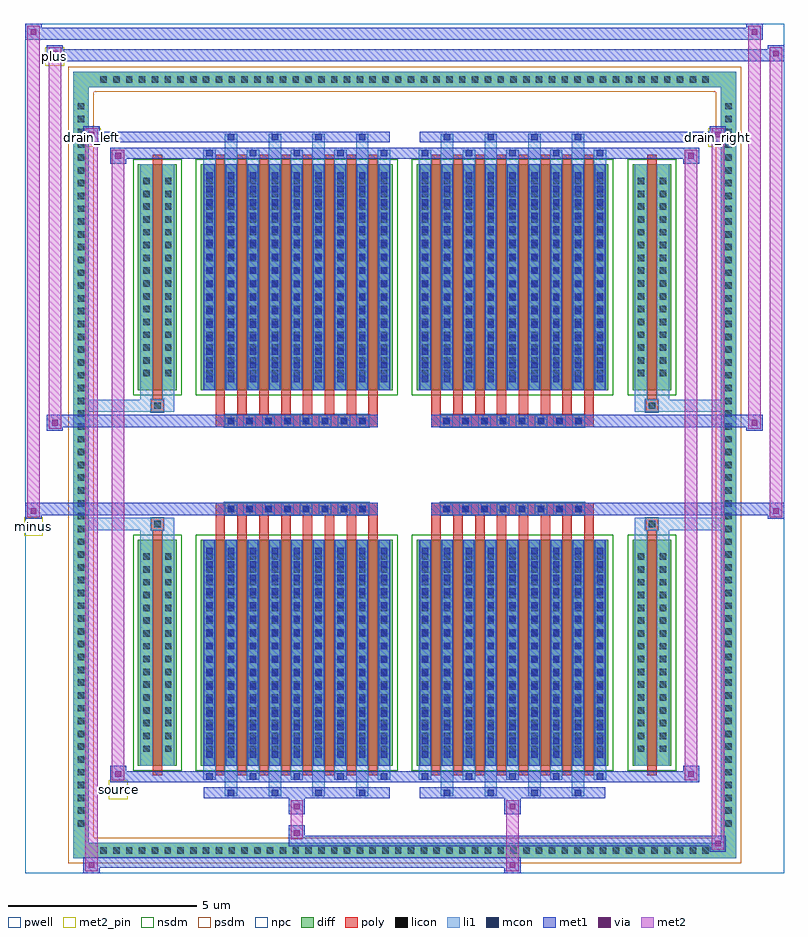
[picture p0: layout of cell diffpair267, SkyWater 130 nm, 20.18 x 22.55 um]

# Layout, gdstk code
import gdstk
lib = gdstk.Library(unit=1e-6, precision=5e-09)
def R(c, l, rs):  # rectangles x0, y0, x1, y1
    for r in rs: c.add(gdstk.rectangle(r[:2], r[2:], *l))
def A(c, l, x, y, w, h, nx, ny, dx, dy):  # array of equal rectangles
    R(c, l, [(x+i*dx, y+j*dy, x+i*dx+w, y+j*dy+h) for i in range(nx) for j in range(ny)])
def P(c, l, *ps):  # polygons
    for p in ps: c.add(gdstk.Polygon(p, *l))
pwell = (64, 44)
diff = (65, 20)
poly = (66, 20)
licon = (66, 44)
li1 = (67, 20)
mcon = (67, 44)
met1 = (68, 20)
via = (68, 44)
met2_pin = (69, 16)
met2 = (69, 20)
nsdm = (93, 44)
psdm = (94, 20)
npc = (95, 20)

diffpair267 = lib.new_cell('diffpair267')
R(diffpair267, pwell, [(-10.07,-10.84,10.07,11.71), (-7.39,-9.03,-0.01,-0.805), (0.01,-9.03,7.39,-0.805), (-7.39,0.805,-0.01,9.03), (0.01,0.805,7.39,9.03)])
A(diffpair267, diff, -8.195, -10.44, 0.41, 0.41, 48, 2, 0.34, 20.47)
A(diffpair267, diff, -8.8, -9.725, 0.41, 0.41, 1, 57, 0, 0.34)
A(diffpair267, diff, 8.39, -9.725, 0.41, 0.41, 1, 57, 0, 0.34)
R(diffpair267, diff, [(-8.195,-10.44,8.195,-10.03), (-8.8,-9.725,-8.39,9.725), (8.39,-9.725,8.8,9.725), (-7.08,-7.985,-6.05,-1.985), (-5.41,-7.985,-0.32,-1.985), (0.32,-7.985,5.41,-1.985), (6.05,-7.985,7.08,-1.985), (-7.08,1.985,-6.05,7.985), (-5.41,1.985,-0.32,7.985), (0.32,1.985,5.41,7.985), (6.05,1.985,7.08,7.985), (-8.195,10.03,8.195,10.44)])
P(diffpair267, diff, [(8.8,10.44),(-8.8,10.44),(-8.8,-10.03),(-8.39,-10.03),(-8.39,10.03),(8.39,10.03),(8.39,-10.03),(-8.39,-10.03),(-8.8,-10.03),(-8.8,-10.44),(8.8,-10.44)])
A(diffpair267, poly, -5.02, -8.235, 0.25, 6.5, 8, 2, 0.58, 9.97)
A(diffpair267, poly, 0.71, -8.235, 0.25, 6.5, 8, 2, 0.58, 9.97)
A(diffpair267, poly, -5.02, -1.735, 0.25, 0.4, 8, 2, 0.58, 3.07)
A(diffpair267, poly, 0.71, -1.735, 0.25, 0.4, 8, 2, 0.58, 3.07)
A(diffpair267, poly, -4.78, -1.335, 0.33, 0.33, 8, 2, 0.5, 2.34)
A(diffpair267, poly, 0.95, -1.335, 0.33, 0.33, 8, 2, 0.5, 2.34)
R(diffpair267, poly, [(-6.69,-8.235,-6.44,-1.735), (6.44,-8.235,6.69,-1.735), (-6.73,-1.735,-6.4,-1.405), (-6.73,-1.735,-6.4,-1.405), (6.4,-1.735,6.73,-1.405), (6.4,-1.735,6.73,-1.405), (-5.02,-1.335,-0.71,-1.005), (0.71,-1.335,5.02,-1.005), (-5.02,1.005,-0.71,1.335), (0.71,1.005,5.02,1.335), (-6.73,1.405,-6.4,1.735), (-6.73,1.405,-6.4,1.735), (6.4,1.405,6.73,1.735), (6.4,1.405,6.73,1.735), (-6.69,1.735,-6.44,8.235), (6.44,1.735,6.69,8.235)])
A(diffpair267, licon, -8.075, -10.32, 0.17, 0.17, 48, 2, 0.34, 20.47)
A(diffpair267, licon, -8.68, -9.605, 0.17, 0.17, 1, 57, 0, 0.34)
A(diffpair267, licon, 8.51, -9.605, 0.17, 0.17, 1, 57, 0, 0.34)
A(diffpair267, licon, -6.94, -7.62, 0.17, 0.17, 1, 16, 0, 0.34)
A(diffpair267, licon, -6.36, -7.62, 0.17, 0.17, 1, 16, 0, 0.34)
A(diffpair267, licon, -5.27, -7.62, 0.17, 0.17, 9, 16, 0.58, 0.34)
A(diffpair267, licon, 0.46, -7.62, 0.17, 0.17, 9, 16, 0.58, 0.34)
A(diffpair267, licon, 6.19, -7.62, 0.17, 0.17, 1, 16, 0, 0.34)
A(diffpair267, licon, 6.77, -7.62, 0.17, 0.17, 1, 16, 0, 0.34)
A(diffpair267, licon, -4.7, -1.255, 0.17, 0.17, 8, 2, 0.5, 2.34)
A(diffpair267, licon, 1.03, -1.255, 0.17, 0.17, 8, 2, 0.5, 2.34)
A(diffpair267, licon, -6.94, 2.35, 0.17, 0.17, 1, 16, 0, 0.34)
A(diffpair267, licon, -6.36, 2.35, 0.17, 0.17, 1, 16, 0, 0.34)
A(diffpair267, licon, -5.27, 2.35, 0.17, 0.17, 9, 16, 0.58, 0.34)
A(diffpair267, licon, 0.46, 2.35, 0.17, 0.17, 9, 16, 0.58, 0.34)
A(diffpair267, licon, 6.19, 2.35, 0.17, 0.17, 1, 16, 0, 0.34)
A(diffpair267, licon, 6.77, 2.35, 0.17, 0.17, 1, 16, 0, 0.34)
R(diffpair267, licon, [(-6.65,-1.655,-6.48,-1.485), (6.48,-1.655,6.65,-1.485), (-6.65,1.485,-6.48,1.655), (6.48,1.485,6.65,1.655)])
A(diffpair267, li1, -8.155, -10.4, 0.33, 0.33, 48, 2, 0.34, 20.47)
A(diffpair267, li1, -8.76, -9.685, 0.33, 0.33, 1, 57, 0, 0.34)
A(diffpair267, li1, 8.43, -9.685, 0.33, 0.33, 1, 57, 0, 0.34)
A(diffpair267, li1, -4.77, -8.79, 0.33, 0.805, 4, 2, 1.16, 16.775)
A(diffpair267, li1, -4.69, -8.79, 0.17, 0.17, 4, 2, 1.16, 17.41)
A(diffpair267, li1, 0.96, -8.79, 0.33, 0.805, 4, 2, 1.16, 16.775)
A(diffpair267, li1, 1.04, -8.79, 0.17, 0.17, 4, 2, 1.16, 17.41)
A(diffpair267, li1, -5.35, -8.36, 0.33, 0.375, 5, 2, 1.16, 16.345)
A(diffpair267, li1, -5.27, -8.36, 0.17, 0.17, 5, 2, 1.16, 16.55)
A(diffpair267, li1, 0.38, -8.36, 0.33, 0.375, 5, 2, 1.16, 16.345)
A(diffpair267, li1, 0.46, -8.36, 0.17, 0.17, 5, 2, 1.16, 16.55)
A(diffpair267, li1, -5.35, -7.985, 0.33, 6, 9, 2, 0.58, 9.97)
A(diffpair267, li1, 0.38, -7.985, 0.33, 6, 9, 2, 0.58, 9.97)
A(diffpair267, li1, -5.27, -7.77, 0.17, 0.17, 9, 16, 0.58, 0.36)
A(diffpair267, li1, -5.27, -7.77, 0.17, 5.57, 9, 2, 0.58, 9.97)
A(diffpair267, li1, 0.46, -7.77, 0.17, 0.17, 9, 16, 0.58, 0.36)
A(diffpair267, li1, 0.46, -7.77, 0.17, 5.57, 9, 2, 0.58, 9.97)
A(diffpair267, li1, -7.02, -7.7, 0.33, 0.33, 1, 16, 0, 0.34)
A(diffpair267, li1, -6.44, -7.7, 0.33, 0.33, 1, 16, 0, 0.34)
A(diffpair267, li1, -5.35, -7.7, 0.33, 0.33, 9, 16, 0.58, 0.34)
A(diffpair267, li1, 0.38, -7.7, 0.33, 0.33, 9, 16, 0.58, 0.34)
A(diffpair267, li1, 6.11, -7.7, 0.33, 0.33, 1, 16, 0, 0.34)
A(diffpair267, li1, 6.69, -7.7, 0.33, 0.33, 1, 16, 0, 0.34)
A(diffpair267, li1, -4.78, -1.335, 0.33, 0.33, 8, 2, 0.5, 2.34)
A(diffpair267, li1, 0.95, -1.335, 0.33, 0.33, 8, 2, 0.5, 2.34)
A(diffpair267, li1, -5.27, 2.2, 0.17, 0.17, 9, 16, 0.58, 0.36)
A(diffpair267, li1, 0.46, 2.2, 0.17, 0.17, 9, 16, 0.58, 0.36)
A(diffpair267, li1, -7.02, 2.27, 0.33, 0.33, 1, 16, 0, 0.34)
A(diffpair267, li1, -6.44, 2.27, 0.33, 0.33, 1, 16, 0, 0.34)
A(diffpair267, li1, -5.35, 2.27, 0.33, 0.33, 9, 16, 0.58, 0.34)
A(diffpair267, li1, 0.38, 2.27, 0.33, 0.33, 9, 16, 0.58, 0.34)
A(diffpair267, li1, 6.11, 2.27, 0.33, 0.33, 1, 16, 0, 0.34)
A(diffpair267, li1, 6.69, 2.27, 0.33, 0.33, 1, 16, 0, 0.34)
R(diffpair267, li1, [(-8.8,-10.44,-8.39,-10.03), (-8.8,-10.44,-8.39,-10.03), (-8.39,-10.44,8.39,-10.03), (8.39,-10.44,8.8,-10.03), (8.39,-10.44,8.8,-10.03), (-8.8,-10.03,-8.39,10.03), (8.39,-10.03,8.8,10.03), (-7.02,-7.985,-6.69,-1.985), (-6.44,-7.985,-6.11,-1.985), (6.11,-7.985,6.44,-1.985), (6.69,-7.985,7.02,-1.985), (-7.02,-1.985,-6.69,-1.405), (-6.44,-1.985,-6.11,-1.405), (6.11,-1.985,6.44,-1.405), (6.69,-1.985,7.02,-1.405), (-8.8,-1.735,-6.73,-1.405), (-7.02,-1.735,-6.73,-1.405), (-6.73,-1.735,-6.4,-1.405), (-6.4,-1.735,-6.11,-1.405), (6.11,-1.735,6.4,-1.405), (6.4,-1.735,6.73,-1.405), (6.4,-1.735,8.8,-1.405), (6.73,-1.735,7.02,-1.405), (-8.8,1.405,-6.73,1.735), (-7.02,1.405,-6.73,1.735), (-7.02,1.405,-6.69,1.985), (-6.73,1.405,-6.4,1.735), (-6.44,1.405,-6.11,1.985), (-6.4,1.405,-6.11,1.735), (6.11,1.405,6.4,1.735), (6.11,1.405,6.44,1.985), (6.4,1.405,6.73,1.735), (6.4,1.405,8.8,1.735), (6.69,1.405,7.02,1.985), (6.73,1.405,7.02,1.735), (-7.02,1.985,-6.69,7.985), (-6.44,1.985,-6.11,7.985), (6.11,1.985,6.44,7.985), (6.69,1.985,7.02,7.985), (-8.8,10.03,-8.39,10.44), (-8.8,10.03,-8.39,10.44), (-8.39,10.03,8.39,10.44), (8.39,10.03,8.8,10.44), (8.39,10.03,8.8,10.44)])
A(diffpair267, mcon, -4.69, -8.79, 0.17, 0.17, 4, 2, 1.16, 17.41)
A(diffpair267, mcon, 1.04, -8.79, 0.17, 0.17, 4, 2, 1.16, 17.41)
A(diffpair267, mcon, -5.27, -8.36, 0.17, 0.17, 5, 2, 1.16, 16.55)
A(diffpair267, mcon, 0.46, -8.36, 0.17, 0.17, 5, 2, 1.16, 16.55)
A(diffpair267, mcon, -5.27, -7.77, 0.17, 0.17, 9, 16, 0.58, 0.36)
A(diffpair267, mcon, 0.46, -7.77, 0.17, 0.17, 9, 16, 0.58, 0.36)
A(diffpair267, mcon, -4.7, -1.255, 0.17, 0.17, 8, 2, 0.5, 2.34)
A(diffpair267, mcon, 1.03, -1.255, 0.17, 0.17, 8, 2, 0.5, 2.34)
A(diffpair267, mcon, -5.27, 2.2, 0.17, 0.17, 9, 16, 0.58, 0.36)
A(diffpair267, mcon, 0.46, 2.2, 0.17, 0.17, 9, 16, 0.58, 0.36)
A(diffpair267, met1, -4.75, -8.85, 0.29, 0.29, 4, 2, 1.16, 17.41)
A(diffpair267, met1, 0.98, -8.85, 0.29, 0.29, 4, 2, 1.16, 17.41)
A(diffpair267, met1, -5.33, -8.42, 0.29, 0.29, 5, 2, 1.16, 16.55)
A(diffpair267, met1, 0.4, -8.42, 0.29, 0.29, 5, 2, 1.16, 16.55)
A(diffpair267, met1, -5.33, -7.985, 0.29, 6, 9, 2, 0.58, 9.97)
A(diffpair267, met1, 0.4, -7.985, 0.29, 6, 9, 2, 0.58, 9.97)
A(diffpair267, met1, -5.33, -7.83, 0.29, 0.29, 9, 16, 0.58, 0.36)
A(diffpair267, met1, 0.4, -7.83, 0.29, 0.29, 9, 16, 0.58, 0.36)
A(diffpair267, met1, -4.76, -1.315, 0.29, 0.29, 8, 2, 0.5, 2.34)
A(diffpair267, met1, 0.97, -1.315, 0.29, 0.29, 8, 2, 0.5, 2.34)
A(diffpair267, met1, -5.33, 2.14, 0.29, 0.29, 9, 16, 0.58, 0.36)
A(diffpair267, met1, 0.4, 2.14, 0.29, 0.29, 9, 16, 0.58, 0.36)
R(diffpair267, met1, [(-8.53,-10.84,-8.1,-10.41), (2.65,-10.84,3.08,-10.41), (-8.53,-10.7,3.08,-10.41), (8.1,-10.27,8.53,-9.84), (-3.08,-10.13,8.53,-9.84), (-3.08,-9.99,-2.65,-9.56), (-3.08,-9.28,-2.65,-8.85), (2.65,-9.28,3.08,-8.85), (-5.33,-8.85,-0.4,-8.56), (0.4,-8.85,5.33,-8.56), (-7.82,-8.42,-7.39,-7.99), (-7.82,-8.42,-5.33,-8.13), (-5.33,-8.42,-0.4,-8.13), (-0.4,-8.42,0.4,-8.13), (0.4,-8.42,5.33,-8.13), (5.33,-8.42,7.82,-8.13), (7.39,-8.42,7.82,-7.99), (-10.07,-1.435,-9.64,-1.005), (9.64,-1.435,10.07,-1.005), (-10.07,-1.335,-0.71,-1.005), (-5.02,-1.335,-0.71,-1.005), (0.71,-1.335,5.02,-1.005), (0.71,-1.335,10.07,-1.005), (-9.5,0.905,-9.07,1.335), (9.07,0.905,9.5,1.335), (-9.5,1.005,-5.02,1.335), (-5.02,1.005,-0.71,1.335), (0.71,1.005,5.02,1.335), (5.02,1.005,9.5,1.335), (-7.82,7.99,-7.39,8.42), (7.39,7.99,7.82,8.42), (-7.82,8.13,-5.33,8.42), (-5.33,8.13,-0.4,8.42), (-0.4,8.13,0.4,8.42), (0.4,8.13,5.33,8.42), (5.33,8.13,7.82,8.42), (-8.53,8.56,-8.1,8.99), (-8.53,8.56,-5.33,8.85), (-5.33,8.56,-0.4,8.85), (0.4,8.56,5.33,8.85), (5.33,8.56,8.53,8.85), (8.1,8.56,8.53,8.99), (-9.5,10.71,-9.07,11.14), (-9.5,10.71,-7.39,11.04), (-7.39,10.71,7.39,11.04), (7.39,10.71,10.07,11.04), (9.64,10.71,10.07,11.14), (-10.07,11.28,-9.64,11.71), (-10.07,11.28,-7.39,11.61), (-7.39,11.28,7.39,11.61), (7.39,11.28,9.5,11.61), (9.07,11.28,9.5,11.71)])
R(diffpair267, via, [(-8.39,-10.7,-8.24,-10.55), (2.79,-10.7,2.94,-10.55), (8.24,-10.13,8.39,-9.98), (-2.94,-9.85,-2.79,-9.7), (-2.94,-9.14,-2.79,-8.99), (2.79,-9.14,2.94,-8.99), (-7.68,-8.28,-7.53,-8.13), (7.53,-8.28,7.68,-8.13), (-9.93,-1.295,-9.78,-1.145), (9.78,-1.295,9.93,-1.145), (-9.36,1.045,-9.21,1.195), (9.21,1.045,9.36,1.195), (-7.68,8.13,-7.53,8.28), (7.53,8.13,7.68,8.28), (-8.39,8.7,-8.24,8.85), (8.24,8.7,8.39,8.85), (-9.36,10.85,-9.21,11), (9.78,10.85,9.93,11), (-9.93,11.42,-9.78,11.57), (9.21,11.42,9.36,11.57)])
R(diffpair267, met2_pin, [(-7.855,-8.87,-7.355,-8.37), (-10.105,-1.885,-9.605,-1.385), (-8.565,8.44,-8.065,8.94), (8.065,8.44,8.565,8.94), (-9.535,10.59,-9.035,11.09)])
R(diffpair267, met2, [(-8.48,-10.79,-8.15,-10.46), (-8.48,-10.79,-8.15,8.94), (2.7,-10.79,3.03,-10.46), (2.7,-10.46,3.03,-9.23), (8.15,-10.22,8.48,-9.89), (8.15,-10.22,8.48,8.94), (-3.03,-9.94,-2.7,-9.61), (-3.03,-9.61,-2.7,-9.23), (-3.03,-9.23,-2.7,-8.9), (2.7,-9.23,3.03,-8.9), (-7.77,-8.37,-7.44,-8.04), (-7.77,-8.37,-7.44,8.37), (7.44,-8.37,7.77,-8.04), (7.44,-8.37,7.77,8.37), (-10.02,-1.385,-9.69,-1.055), (-10.02,-1.385,-9.69,11.66), (9.69,-1.385,10.02,-1.055), (9.69,-1.385,10.02,11.09), (-9.45,0.955,-9.12,1.285), (-9.45,0.955,-9.12,11.09), (9.12,0.955,9.45,1.285), (9.12,0.955,9.45,11.66), (-7.77,8.04,-7.44,8.37), (7.44,8.04,7.77,8.37), (-8.48,8.61,-8.15,8.94), (8.15,8.61,8.48,8.94), (-9.45,10.76,-9.12,11.09), (9.69,10.76,10.02,11.09), (-10.02,11.33,-9.69,11.66), (9.12,11.33,9.45,11.66)])
P(diffpair267, met2, [(10.02,-1.385),(10.02,-1.385),(10.02,-1.055),(10.02,-1.055)],
  [(10.02,10.76),(10.02,10.76),(10.02,11.09),(10.02,11.09)],
  [(-9.69,-1.385),(-9.69,-1.385),(-9.69,-1.055),(-9.69,-1.055)],
  [(-9.69,11.33),(-9.69,11.33),(-9.69,11.66),(-9.69,11.66)],
  [(9.45,0.955),(9.45,0.955),(9.45,1.285),(9.45,1.285)],
  [(9.45,11.33),(9.45,11.33),(9.45,11.66),(9.45,11.66)],
  [(-9.12,0.955),(-9.12,0.955),(-9.12,1.285),(-9.12,1.285)],
  [(-9.12,10.76),(-9.12,10.76),(-9.12,11.09),(-9.12,11.09)],
  [(-8.15,-10.79),(-8.15,-10.79),(-8.15,-10.46),(-8.15,-10.46)],
  [(-8.15,8.61),(-8.15,8.61),(-8.15,8.94),(-8.15,8.94)],
  [(8.48,-10.22),(8.48,-10.22),(8.48,-9.89),(8.48,-9.89)],
  [(8.48,8.61),(8.48,8.61),(8.48,8.94),(8.48,8.94)],
  [(-7.44,-8.37),(-7.44,-8.37),(-7.44,-8.04),(-7.44,-8.04)],
  [(-7.44,8.04),(-7.44,8.04),(-7.44,8.37),(-7.44,8.37)],
  [(7.77,-8.37),(7.77,-8.37),(7.77,-8.04),(7.77,-8.04)],
  [(7.77,8.04),(7.77,8.04),(7.77,8.37),(7.77,8.37)])
R(diffpair267, nsdm, [(-7.21,-8.115,-5.92,-1.855), (-5.54,-8.115,-0.19,-1.855), (0.19,-8.115,5.54,-1.855), (5.92,-8.115,7.21,-1.855), (-7.21,1.855,-5.92,8.115), (-5.54,1.855,-0.19,8.115), (0.19,1.855,5.54,8.115), (5.92,1.855,7.21,8.115)])
P(diffpair267, psdm, [(8.93,10.57),(-8.93,10.57),(-8.93,-9.9),(-8.26,-9.9),(-8.26,9.9),(8.26,9.9),(8.26,-9.9),(-8.26,-9.9),(-8.93,-9.9),(-8.93,-10.57),(8.93,-10.57)])
A(diffpair267, npc, -4.8, -1.355, 0.37, 0.37, 8, 2, 0.5, 2.34)
A(diffpair267, npc, 0.93, -1.355, 0.37, 0.37, 8, 2, 0.5, 2.34)
R(diffpair267, npc, [(-6.75,-1.755,-6.38,-1.385), (6.38,-1.755,6.75,-1.385), (-4.8,-1.355,-3.93,-0.985), (-4.8,-1.355,-3.93,-0.985), (-4.3,-1.355,-3.43,-0.985), (-4.3,-1.355,-3.43,-0.985), (-3.8,-1.355,-2.93,-0.985), (-3.8,-1.355,-2.93,-0.985), (-3.3,-1.355,-2.43,-0.985), (-3.3,-1.355,-2.43,-0.985), (-2.8,-1.355,-1.93,-0.985), (-2.8,-1.355,-1.93,-0.985), (-2.3,-1.355,-1.43,-0.985), (-2.3,-1.355,-1.43,-0.985), (-1.8,-1.355,-0.93,-0.985), (-1.8,-1.355,-0.93,-0.985), (0.93,-1.355,1.8,-0.985), (0.93,-1.355,1.8,-0.985), (1.43,-1.355,2.3,-0.985), (1.43,-1.355,2.3,-0.985), (1.93,-1.355,2.8,-0.985), (1.93,-1.355,2.8,-0.985), (2.43,-1.355,3.3,-0.985), (2.43,-1.355,3.3,-0.985), (2.93,-1.355,3.8,-0.985), (2.93,-1.355,3.8,-0.985), (3.43,-1.355,4.3,-0.985), (3.43,-1.355,4.3,-0.985), (3.93,-1.355,4.8,-0.985), (3.93,-1.355,4.8,-0.985), (-4.8,0.985,-3.93,1.355), (-4.8,0.985,-3.93,1.355), (-4.3,0.985,-3.43,1.355), (-4.3,0.985,-3.43,1.355), (-3.8,0.985,-2.93,1.355), (-3.8,0.985,-2.93,1.355), (-3.3,0.985,-2.43,1.355), (-3.3,0.985,-2.43,1.355), (-2.8,0.985,-1.93,1.355), (-2.8,0.985,-1.93,1.355), (-2.3,0.985,-1.43,1.355), (-2.3,0.985,-1.43,1.355), (-1.8,0.985,-0.93,1.355), (-1.8,0.985,-0.93,1.355), (0.93,0.985,1.8,1.355), (0.93,0.985,1.8,1.355), (1.43,0.985,2.3,1.355), (1.43,0.985,2.3,1.355), (1.93,0.985,2.8,1.355), (1.93,0.985,2.8,1.355), (2.43,0.985,3.3,1.355), (2.43,0.985,3.3,1.355), (2.93,0.985,3.8,1.355), (2.93,0.985,3.8,1.355), (3.43,0.985,4.3,1.355), (3.43,0.985,4.3,1.355), (3.93,0.985,4.8,1.355), (3.93,0.985,4.8,1.355), (-6.75,1.385,-6.38,1.755), (6.38,1.385,6.75,1.755)])
diffpair267.add(gdstk.Label('minus', (-9.855,-1.635), layer=69, texttype=5))
diffpair267.add(gdstk.Label('drain_right', (8.315,8.69), layer=69, texttype=5))
diffpair267.add(gdstk.Label('drain_left', (-8.315,8.69), layer=69, texttype=5))
diffpair267.add(gdstk.Label('source', (-7.605,-8.62), layer=69, texttype=5))
diffpair267.add(gdstk.Label('plus', (-9.285,10.84), layer=69, texttype=5))

lib.write_gds('diffpair267.gds')
